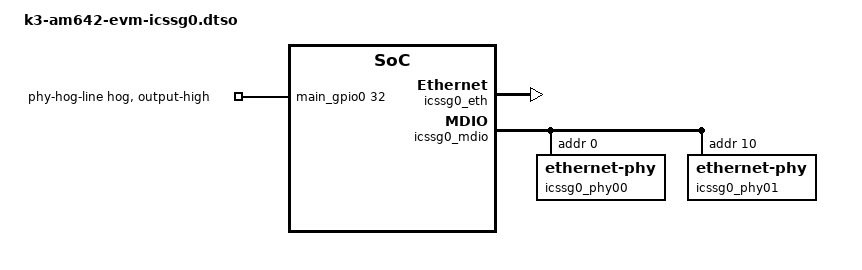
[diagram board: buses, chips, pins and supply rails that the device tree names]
// SPDX-License-Identifier: GPL-2.0-only OR MIT
/**
 * DT overlay for enabling ICSSG0 dual EMAC on AM642 EVM
 *
 * AM642 EVM Product link: https://www.ti.com/tool/TMDS64EVM
 * DP83TG720 daughter card link: https://www.ti.com/tool/DP83TG720-IND-SPE-EVM
 *
 * Copyright (C) 2020-2024 Texas Instruments Incorporated - https://www.ti.com/
 */

/dts-v1/;
/plugin/;

#include <dt-bindings/gpio/gpio.h>
#include "k3-pinctrl.h"

&{/aliases} {
	ethernet0 = &icssg0_emac0;
	ethernet1 = &icssg0_emac1;
};

&{/} {
	icssg0_eth: icssg0-eth {
		compatible = "ti,am642-icssg-prueth";
		pinctrl-names = "default";
		pinctrl-0 = <&pru_icssg0_rgmii1_pins_default>, <&pru_icssg0_rgmii2_pins_default>;

		sram = <&oc_sram>;
		ti,prus = <&pru0_0>, <&rtu0_0>, <&tx_pru0_0>, <&pru0_1>, <&rtu0_1>, <&tx_pru0_1>;
		firmware-name = "ti-pruss/am64x-sr2-pru0-prueth-fw.elf",
				"ti-pruss/am64x-sr2-rtu0-prueth-fw.elf",
				"ti-pruss/am64x-sr2-txpru0-prueth-fw.elf",
				"ti-pruss/am64x-sr2-pru1-prueth-fw.elf",
				"ti-pruss/am64x-sr2-rtu1-prueth-fw.elf",
				"ti-pruss/am64x-sr2-txpru1-prueth-fw.elf";

		ti,pruss-gp-mux-sel = <2>,	/* MII mode */
				      <2>,
				      <2>,
				      <2>,	/* MII mode */
				      <2>,
				      <2>;

		ti,mii-g-rt = <&icssg0_mii_g_rt>;
		ti,mii-rt = <&icssg0_mii_rt>;
		ti,pa-stats = <&icssg0_pa_stats>;
		ti,iep = <&icssg0_iep0>,  <&icssg0_iep1>;

		interrupt-parent = <&icssg0_intc>;
		interrupts = <24 0 2>, <25 1 3>;
		interrupt-names = "tx_ts0", "tx_ts1";

		dmas = <&main_pktdma 0xc100 0>, /* egress slice 0 */
		       <&main_pktdma 0xc101 0>, /* egress slice 0 */
		       <&main_pktdma 0xc102 0>, /* egress slice 0 */
		       <&main_pktdma 0xc103 0>, /* egress slice 0 */
		       <&main_pktdma 0xc104 0>, /* egress slice 1 */
		       <&main_pktdma 0xc105 0>, /* egress slice 1 */
		       <&main_pktdma 0xc106 0>, /* egress slice 1 */
		       <&main_pktdma 0xc107 0>, /* egress slice 1 */
		       <&main_pktdma 0x4100 0>, /* ingress slice 0 */
		       <&main_pktdma 0x4101 0>, /* ingress slice 1 */
		       <&main_pktdma 0x4102 0>, /* mgmnt rsp slice 0 */
		       <&main_pktdma 0x4103 0>; /* mgmnt rsp slice 1 */
		dma-names = "tx0-0", "tx0-1", "tx0-2", "tx0-3",
			    "tx1-0", "tx1-1", "tx1-2", "tx1-3",
			    "rx0", "rx1",
			    "rxmgm0", "rxmgm1";

		ethernet-ports {
			#address-cells = <1>;
			#size-cells = <0>;

			icssg0_emac0: port@0 {
				reg = <0>;
				phy-handle = <&icssg0_phy00>;
				phy-mode = "rgmii-id";
				syscon-rgmii-delay = <&main_conf 0x4100>;
				/* Filled in by bootloader */
				local-mac-address = [00 00 00 00 00 00];
			};

			icssg0_emac1: port@1 {
				reg = <1>;
				phy-handle = <&icssg0_phy01>;
				phy-mode = "rgmii-id";
				syscon-rgmii-delay = <&main_conf 0x4104>;
				/* Filled in by bootloader */
				local-mac-address = [00 00 00 00 00 00];
			};
		};
	};
};

&main_pmx0 {
	pru_icssg0_mdio_pins_default: pru-icssg0-mdio-pins-default {
		pinctrl-single,pins = <
			/* (P3) PRG0_MDIO0_MDC */
			AM64X_IOPAD(0x0204, PIN_OUTPUT, 0)
			/* (P2) PRG0_MDIO0_MDIO */
			AM64X_IOPAD(0x0200, PIN_INPUT, 0)
			/* (P16) GPIO0_32 - GPMC0_ADVn_ALE - GPIO_ETH0/1_RESETn# */
			AM64X_IOPAD(0x0084, PIN_OUTPUT, 7)
		>;
	};

	pru_icssg0_rgmii1_pins_default: pru-icssg0-rgmii1-pins-default {
		pinctrl-single,pins = <
			/* (module-sitara) */
			/* (a14-y1) PRG0_PRU0_GPO0.PRG0_RGMII1_RD0 */
			AM64X_IOPAD(0x0160, PIN_INPUT, 2)
			/* (b14-r4) PRG0_PRU0_GPO1.PRG0_RGMII1_RD1 */
			AM64X_IOPAD(0x0164, PIN_INPUT, 2)
			/* (d14-u2) PRG0_PRU0_GPO2.PRG0_RGMII1_RD2 */
			AM64X_IOPAD(0x0168, PIN_INPUT, 2)
			/* (e14-v2) PRG0_PRU0_GPO3.PRG0_RGMII1_RD3 */
			AM64X_IOPAD(0x016c, PIN_INPUT, 2)
			/* (e13-t3) PRG0_PRU0_GPO6.PRG0_RGMII1_RXC */
			AM64X_IOPAD(0x0178, PIN_INPUT, 2)
			/* (b13-aa2) PRG0_PRU0_GPO4.PRG0_RGMII1_RX_CTL */
			AM64X_IOPAD(0x0170, PIN_INPUT, 2)

			/* (a11-y3) PRG0_PRU0_GPO11.PRG0_RGMII1_TD0 */
			AM64X_IOPAD(0x018c, PIN_OUTPUT, 2)
			/* (c11-aa3) PRG0_PRU0_GPO12.PRG0_RGMII1_TD1 */
			AM64X_IOPAD(0x0190, PIN_OUTPUT, 2)
			/* (d11-r6) PRG0_PRU0_GPO13.PRG0_RGMII1_TD2 */
			AM64X_IOPAD(0x0194, PIN_OUTPUT, 2)
			/* (b10-v4) PRG0_PRU0_GPO14.PRG0_RGMII1_TD3 */
			AM64X_IOPAD(0x0198, PIN_OUTPUT, 2)
			/* (e10-u4) PRG0_PRU0_GPO16.PRG0_RGMII1_TXC */
			AM64X_IOPAD(0x01a0, PIN_OUTPUT, 2)
			/* (c10-t5) PRG0_PRU0_GPO15.PRG0_RGMII1_TX_CTL */
			AM64X_IOPAD(0x019c, PIN_OUTPUT, 2)
		>;
	};

	pru_icssg0_rgmii2_pins_default: pru-icssg0-rgmii2-pins-default {
		pinctrl-single,pins = <
			/* (e9-y2) PRG0_PRU1_GPO0.PRG0_RGMII2_RD0 */
			AM64X_IOPAD(0x01b0, PIN_INPUT, 2)
			/* (a8-w2) PRG0_PRU1_GPO1.PRG0_RGMII2_RD1 */
			AM64X_IOPAD(0x01b4, PIN_INPUT, 2)
			/* (c8-v3) PRG0_PRU1_GPO2.PRG0_RGMII2_RD2 */
			AM64X_IOPAD(0x01b8, PIN_INPUT, 2)
			/* (d8-t4) PRG0_PRU1_GPO3.PRG0_RGMII2_RD3 */
			AM64X_IOPAD(0x01bc, PIN_INPUT, 2)
			/* (e7-r5) PRG0_PRU1_GPO6.PRG0_RGMII2_RXC */
			AM64X_IOPAD(0x01c8, PIN_INPUT, 2)
			/* (b7-w3) PRG0_PRU1_GPO4.PRG0_RGMII2_RX_CTL */
			AM64X_IOPAD(0x01c0, PIN_INPUT, 2)

			/* (a5-w4) PRG0_PRU1_GPO11.PRG0_RGMII2_TD0 */
			AM64X_IOPAD(0x01dc, PIN_OUTPUT, 2)
			/* (c5-y4) PRG0_PRU1_GPO12.PRG0_RGMII2_TD1 */
			AM64X_IOPAD(0x01e0, PIN_OUTPUT, 2)
			/* (d5-t6) PRG0_PRU1_GPO13.PRG0_RGMII2_TD2 */
			AM64X_IOPAD(0x01e4, PIN_OUTPUT, 2)
			/* (b4-u6) PRG0_PRU1_GPO14.PRG0_RGMII2_TD3 */
			AM64X_IOPAD(0x01e8, PIN_OUTPUT, 2)
			/* (a3-aa4) PRG0_PRU1_GPO16.PRG0_RGMII2_TXC */
			AM64X_IOPAD(0x01f0, PIN_OUTPUT, 2)
			/* (c4-u5) PRG0_PRU1_GPO15.PRG0_RGMII2_TX_CTL */
			AM64X_IOPAD(0x01ec, PIN_OUTPUT, 2)
		>;
	};

	icssg0_iep0_pins_default: icssg0-iep0-pins-default {
		pinctrl-single,pins = <
			AM64X_IOPAD(0x01ac, PIN_OUTPUT, 2) /* (W1) PRG0_PRU0_GPO19.PRG0_IEP0_EDC_SYNC_OUT0 */
		>;
	};
};

&icssg0_mdio {
	pinctrl-names = "default";
	status = "okay";
	pinctrl-0 = <&pru_icssg0_mdio_pins_default>;
	#address-cells = <1>;
	#size-cells = <0>;

	icssg0_phy00: ethernet-phy@0 {
		reg = <0x0>;
	};

	icssg0_phy01: ethernet-phy@1 {
		reg = <0xA>;
	};
};

&icssg0_iep0 {
	pinctrl-names = "default";
	pinctrl-0 = <&icssg0_iep0_pins_default>;
};

&main_gpio0 {
	phy-line-hog {
		gpio-hog;
		gpios = <32 GPIO_ACTIVE_HIGH>;
		output-high;
		line-name = "phy-hog-line";
	};
};
